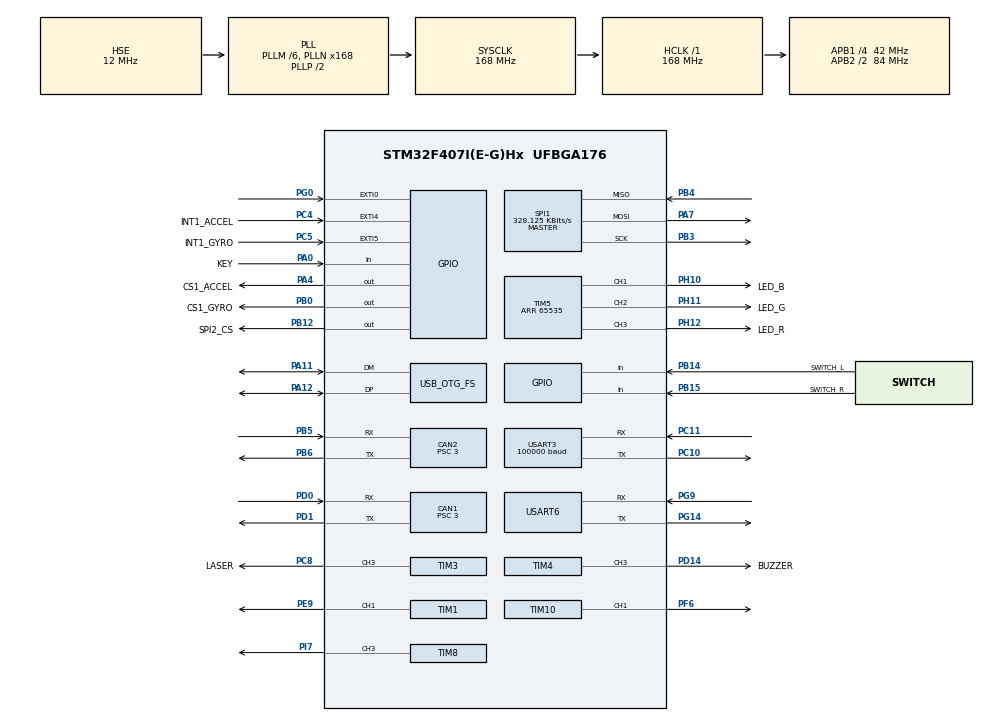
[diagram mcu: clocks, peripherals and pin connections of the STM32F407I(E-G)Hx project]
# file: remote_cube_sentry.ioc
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ADC1.Channel-0\#ChannelRegularConversion=ADC_CHANNEL_TEMPSENSOR
ADC1.ClockPrescaler=ADC_CLOCK_SYNC_PCLK_DIV6
ADC1.NbrOfConversionFlag=1
ADC1.Rank-0\#ChannelRegularConversion=1
ADC1.SamplingTime-0\#ChannelRegularConversion=ADC_SAMPLETIME_3CYCLES
ADC1.master=1
CAN1.ABOM=ENABLE
CAN1.BS1=CAN_BS1_10TQ
CAN1.BS2=CAN_BS2_3TQ
CAN1.CalculateBaudRate=1000000
CAN1.CalculateTimeBit=1000
CAN1.CalculateTimeQuantum=71.42857142857143
CAN1.NART=ENABLE
CAN1.Prescaler=3
CAN1.RFLM=DISABLE
CAN2.ABOM=ENABLE
CAN2.BS1=CAN_BS1_10TQ
CAN2.BS2=CAN_BS2_3TQ
CAN2.CalculateBaudRate=1000000
CAN2.CalculateTimeBit=1000
CAN2.CalculateTimeQuantum=71.42857142857143
CAN2.NART=ENABLE
CAN2.Prescaler=3
Dma.Request0=SPI1_RX
Dma.Request1=SPI1_TX
Dma.Request2=USART3_RX
Dma.Request3=USART6_RX
Dma.Request4=USART6_TX
Dma.SPI1_RX.0.Direction=DMA_PERIPH_TO_MEMORY
Dma.SPI1_RX.0.FIFOMode=DMA_FIFOMODE_DISABLE
Dma.SPI1_RX.0.Instance=DMA2_Stream2
Dma.SPI1_RX.0.MemDataAlignment=DMA_MDATAALIGN_BYTE
Dma.SPI1_RX.0.MemInc=DMA_MINC_ENABLE
Dma.SPI1_RX.0.Mode=DMA_NORMAL
Dma.SPI1_RX.0.PeriphDataAlignment=DMA_PDATAALIGN_BYTE
Dma.SPI1_RX.0.PeriphInc=DMA_PINC_DISABLE
Dma.SPI1_RX.0.Priority=DMA_PRIORITY_VERY_HIGH
Dma.SPI1_TX.1.Direction=DMA_MEMORY_TO_PERIPH
Dma.SPI1_TX.1.FIFOMode=DMA_FIFOMODE_DISABLE
Dma.SPI1_TX.1.Instance=DMA2_Stream3
Dma.SPI1_TX.1.MemDataAlignment=DMA_MDATAALIGN_BYTE
Dma.SPI1_TX.1.MemInc=DMA_MINC_ENABLE
Dma.SPI1_TX.1.Mode=DMA_NORMAL
Dma.SPI1_TX.1.PeriphDataAlignment=DMA_PDATAALIGN_BYTE
Dma.SPI1_TX.1.PeriphInc=DMA_PINC_DISABLE
Dma.SPI1_TX.1.Priority=DMA_PRIORITY_HIGH
Dma.USART3_RX.2.Direction=DMA_PERIPH_TO_MEMORY
Dma.USART3_RX.2.FIFOMode=DMA_FIFOMODE_DISABLE
Dma.USART3_RX.2.Instance=DMA1_Stream1
Dma.USART3_RX.2.MemDataAlignment=DMA_MDATAALIGN_BYTE
Dma.USART3_RX.2.MemInc=DMA_MINC_ENABLE
Dma.USART3_RX.2.Mode=DMA_NORMAL
Dma.USART3_RX.2.PeriphDataAlignment=DMA_PDATAALIGN_BYTE
Dma.USART3_RX.2.PeriphInc=DMA_PINC_DISABLE
Dma.USART3_RX.2.Priority=DMA_PRIORITY_HIGH
Dma.USART6_RX.3.Direction=DMA_PERIPH_TO_MEMORY
Dma.USART6_RX.3.FIFOMode=DMA_FIFOMODE_ENABLE
Dma.USART6_RX.3.FIFOThreshold=DMA_FIFO_THRESHOLD_FULL
Dma.USART6_RX.3.Instance=DMA2_Stream1
Dma.USART6_RX.3.MemBurst=DMA_MBURST_SINGLE
Dma.USART6_RX.3.MemDataAlignment=DMA_MDATAALIGN_BYTE
Dma.USART6_RX.3.MemInc=DMA_MINC_ENABLE
Dma.USART6_RX.3.Mode=DMA_NORMAL
Dma.USART6_RX.3.PeriphBurst=DMA_PBURST_SINGLE
Dma.USART6_RX.3.PeriphDataAlignment=DMA_PDATAALIGN_BYTE
Dma.USART6_RX.3.PeriphInc=DMA_PINC_DISABLE
Dma.USART6_RX.3.Priority=DMA_PRIORITY_HIGH
Dma.USART6_TX.4.Direction=DMA_MEMORY_TO_PERIPH
Dma.USART6_TX.4.FIFOMode=DMA_FIFOMODE_DISABLE
Dma.USART6_TX.4.Instance=DMA2_Stream6
Dma.USART6_TX.4.MemDataAlignment=DMA_MDATAALIGN_BYTE
Dma.USART6_TX.4.MemInc=DMA_MINC_ENABLE
Dma.USART6_TX.4.Mode=DMA_NORMAL
Dma.USART6_TX.4.PeriphDataAlignment=DMA_PDATAALIGN_BYTE
Dma.USART6_TX.4.PeriphInc=DMA_PINC_DISABLE
Dma.USART6_TX.4.Priority=DMA_PRIORITY_MEDIUM
FREERTOS.INCLUDE_eTaskGetState=1
FREERTOS.INCLUDE_pcTaskGetTaskName=1
FREERTOS.INCLUDE_uxTaskGetStackHighWaterMark=0
FREERTOS.INCLUDE_vTaskCleanUpResources=1
FREERTOS.INCLUDE_vTaskDelayUntil=1
FREERTOS.INCLUDE_xEventGroupSetBitFromISR=0
FREERTOS.INCLUDE_xQueueGetMutexHolder=1
FREERTOS.INCLUDE_xSemaphoreGetMutexHolder=1
FREERTOS.INCLUDE_xTaskAbortDelay=1
FREERTOS.INCLUDE_xTaskGetCurrentTaskHandle=1
FREERTOS.INCLUDE_xTaskGetHandle=1
FREERTOS.Tasks01=defaultTask,0,128,StartDefaultTask,Default,NULL,Dynamic,NULL,NULL;CalibrateTask,0,512,calibrate_task,As weak,NULL,Dynamic,NULL,NULL;ChassisTask,-2,512,chassis_task,As weak,NULL,Dynamic,NULL,NULL;gimbalTask,2,512,gimbal_task,As weak,NULL,Dynamic,NULL,NULL;imuTask,-3,512,INS_task,As weak,NULL,Dynamic,NULL,NULL;detectTask,-3,128,detect_task,As weak,NULL,Dynamic,NULL,NULL;RefereeTask,0,128,Referee_send_task,As weak,NULL,Dynamic,NULL,NULL
FREERTOS.configCHECK_FOR_STACK_OVERFLOW=0
FREERTOS.configTOTAL_HEAP_SIZE=24576
FREERTOS.configUSE_NEWLIB_REENTRANT=0
Mcu.Family=STM32F4
Mcu.Name=STM32F407I(E-G)Hx
Mcu.Package=UFBGA176
NVIC.CAN1_RX0_IRQn=true\:5\:0\:false\:false\:true\:true\:true\:true\:true
NVIC.CAN2_RX0_IRQn=true\:5\:0\:false\:false\:true\:true\:true\:true\:true
NVIC.DMA1_Stream1_IRQn=true\:5\:0\:false\:false\:true\:true\:false\:true\:true
NVIC.DMA2_Stream1_IRQn=true\:5\:0\:false\:false\:true\:true\:false\:true\:true
NVIC.DMA2_Stream2_IRQn=true\:5\:0\:false\:false\:false\:true\:false\:true\:true
NVIC.DMA2_Stream3_IRQn=true\:5\:0\:false\:false\:true\:true\:false\:true\:true
NVIC.DMA2_Stream6_IRQn=true\:5\:0\:false\:false\:true\:true\:false\:true\:true
NVIC.EXTI0_IRQn=true\:5\:0\:false\:false\:true\:true\:true\:true\:true
NVIC.EXTI4_IRQn=true\:5\:0\:false\:false\:true\:true\:true\:true\:true
NVIC.EXTI9_5_IRQn=true\:5\:0\:false\:false\:true\:true\:true\:true\:true
NVIC.OTG_FS_IRQn=true\:5\:0\:false\:false\:true\:true\:false\:true\:true
NVIC.PriorityGroup=NVIC_PRIORITYGROUP_4
NVIC.USART3_IRQn=true\:5\:0\:false\:false\:false\:true\:true\:true\:true
NVIC.USART6_IRQn=true\:5\:0\:false\:false\:false\:true\:true\:true\:true
PA0-WKUP.GPIO_Label=KEY
PA0-WKUP.GPIO_PuPd=GPIO_PULLUP
PA0-WKUP.Signal=GPIO_Input
PA11.Mode=Device_Only
PA11.Signal=USB_OTG_FS_DM
PA12.Mode=Device_Only
PA12.Signal=USB_OTG_FS_DP
PA13.Mode=Serial_Wire
PA13.Signal=SYS_JTMS-SWDIO
PA14.Mode=Serial_Wire
PA14.Signal=SYS_JTCK-SWCLK
PA4.GPIO_Label=CS1_ACCEL
PA4.GPIO_PuPd=GPIO_PULLUP
PA4.GPIO_Speed=GPIO_SPEED_FREQ_HIGH
PA4.PinState=GPIO_PIN_SET
PA4.Signal=GPIO_Output
PA7.GPIO_PuPd=GPIO_PULLUP
PA7.Mode=Full_Duplex_Master
PA7.Signal=SPI1_MOSI
PB0.GPIO_Label=CS1_GYRO
PB0.GPIO_PuPd=GPIO_PULLUP
PB0.GPIO_Speed=GPIO_SPEED_FREQ_HIGH
PB0.PinState=GPIO_PIN_SET
PB0.Signal=GPIO_Output
PB12.GPIO_Label=SPI2_CS
PB12.GPIO_PuPd=GPIO_PULLUP
PB12.GPIO_Speed=GPIO_SPEED_FREQ_MEDIUM
PB12.PinState=GPIO_PIN_SET
PB12.Signal=GPIO_Output
PB14.GPIO_Label=SWITCH_L
PB14.GPIO_PuPd=GPIO_PULLDOWN
PB14.Signal=GPIO_Input
PB15.GPIO_Label=SWITCH_R
PB15.GPIO_PuPd=GPIO_PULLDOWN
PB15.Signal=GPIO_Input
PB3.GPIO_PuPd=GPIO_PULLUP
PB3.Mode=Full_Duplex_Master
PB3.Signal=SPI1_SCK
PB4.GPIO_PuPd=GPIO_PULLUP
PB4.Mode=Full_Duplex_Master
PB4.Signal=SPI1_MISO
PB5.GPIO_PuPd=GPIO_PULLUP
PB5.Mode=CAN_Activate
PB5.Signal=CAN2_RX
PB6.GPIO_PuPd=GPIO_PULLUP
PB6.Mode=CAN_Activate
PB6.Signal=CAN2_TX
PC10.Mode=Asynchronous
PC10.Signal=USART3_TX
PC11.Mode=Asynchronous
PC11.Signal=USART3_RX
PC4.GPIO_Label=INT1_ACCEL
PC4.GPIO_ModeDefaultEXTI=GPIO_MODE_IT_FALLING
PC4.GPIO_PuPd=GPIO_PULLUP
PC4.Signal=GPXTI4
PC5.GPIO_Label=INT1_GYRO
PC5.GPIO_ModeDefaultEXTI=GPIO_MODE_IT_FALLING
PC5.GPIO_PuPd=GPIO_PULLUP
PC5.Signal=GPXTI5
PC6.Signal=S_TIM8_CH1
PC8.GPIO_Label=LASER
PC8.GPIO_PuPd=GPIO_PULLUP
PC8.GPIO_Speed=GPIO_SPEED_FREQ_HIGH
PC8.Signal=S_TIM3_CH3
PD0.GPIO_PuPd=GPIO_PULLUP
PD0.Mode=CAN_Activate
PD0.Signal=CAN1_RX
PD1.GPIO_PuPd=GPIO_PULLUP
PD1.Mode=CAN_Activate
PD1.Signal=CAN1_TX
PD14.GPIO_Label=BUZZER
PD14.GPIO_PuPd=GPIO_PULLUP
PD14.GPIO_Speed=GPIO_SPEED_FREQ_VERY_HIGH
PD14.Signal=S_TIM4_CH3
PE9.GPIO_PuPd=GPIO_PULLUP
PE9.GPIO_Speed=GPIO_SPEED_FREQ_HIGH
PE9.Signal=S_TIM1_CH1
PF6.GPIO_PuPd=GPIO_PULLUP
PF6.GPIO_Speed=GPIO_SPEED_FREQ_HIGH
PF6.Signal=S_TIM10_CH1
PG0.GPIO_ModeDefaultEXTI=GPIO_MODE_IT_FALLING
PG0.GPIO_PuPd=GPIO_PULLUP
PG0.Signal=GPXTI0
PG14.Mode=Asynchronous
PG14.Signal=USART6_TX
PG9.Mode=Asynchronous
PG9.Signal=USART6_RX
PH0-OSC_IN.Mode=HSE-External-Oscillator
PH0-OSC_IN.Signal=RCC_OSC_IN
PH1-OSC_OUT.Mode=HSE-External-Oscillator
PH1-OSC_OUT.Signal=RCC_OSC_OUT
PH10.GPIO_Label=LED_B
PH10.GPIO_PuPd=GPIO_PULLUP
PH10.GPIO_Speed=GPIO_SPEED_FREQ_HIGH
PH10.Signal=S_TIM5_CH1
PH11.GPIO_Label=LED_G
PH11.GPIO_PuPd=GPIO_PULLUP
PH11.GPIO_Speed=GPIO_SPEED_FREQ_HIGH
PH11.Signal=S_TIM5_CH2
PH12.GPIO_Label=LED_R
PH12.GPIO_PuPd=GPIO_PULLUP
PH12.GPIO_Speed=GPIO_SPEED_FREQ_HIGH
PH12.Signal=S_TIM5_CH3
PI7.GPIO_PuPd=GPIO_PULLUP
PI7.GPIO_Speed=GPIO_SPEED_FREQ_VERY_HIGH
PI7.Signal=S_TIM8_CH3
ProjectManager.HeapSize=0x2000
ProjectManager.StackSize=0x2000
ProjectManager.TargetToolchain=STM32CubeIDE
RCC.48MHZClocksFreq_Value=48000000
RCC.AHBFreq_Value=168000000
RCC.APB1CLKDivider=RCC_HCLK_DIV4
RCC.APB1Freq_Value=42000000
RCC.APB1TimFreq_Value=84000000
RCC.APB2CLKDivider=RCC_HCLK_DIV2
RCC.APB2Freq_Value=84000000
RCC.APB2TimCLKDivider=2
RCC.APB2TimFreq_Value=168000000
RCC.CortexFreq_Value=168000000
RCC.HCLKFreq_Value=168000000
RCC.HSE_VALUE=12000000
RCC.HSI_VALUE=16000000
RCC.LSE_VALUE=32768
RCC.PLLM=6
RCC.PLLN=168
RCC.PLLQ=7
RCC.RCC_RTC_Clock_SourceVirtual=RCC_RTCCLKSOURCE_HSE_DIV30
RCC.RCC_RTC_Clock_Source_FROM_HSE=RCC_RTCCLKSOURCE_HSE_DIV30
RCC.SYSCLKFreq_VALUE=168000000
RCC.SYSCLKSource=RCC_SYSCLKSOURCE_PLLCLK
RCC.VCOOutputFreq_Value=336000000
SH.S_TIM10_CH1.0=TIM10_CH1,PWM Generation1 CH1
SH.S_TIM1_CH1.0=TIM1_CH1,PWM Generation1 CH1
SH.S_TIM3_CH3.0=TIM3_CH3,PWM Generation3 CH3
SH.S_TIM4_CH3.0=TIM4_CH3,PWM Generation3 CH3
SH.S_TIM5_CH1.0=TIM5_CH1,PWM Generation1 CH1
SH.S_TIM5_CH2.0=TIM5_CH2,PWM Generation2 CH2
SH.S_TIM5_CH3.0=TIM5_CH3,PWM Generation3 CH3
SH.S_TIM8_CH1.0=TIM8_CH1
SH.S_TIM8_CH3.0=TIM8_CH3,PWM Generation3 CH3
SPI1.BaudRatePrescaler=SPI_BAUDRATEPRESCALER_256
SPI1.CLKPhase=SPI_PHASE_2EDGE
SPI1.CLKPolarity=SPI_POLARITY_HIGH
SPI1.CalculateBaudRate=328.125 KBits/s
SPI1.Direction=SPI_DIRECTION_2LINES
SPI1.Mode=SPI_MODE_MASTER
SPI1.VirtualType=VM_MASTER
TIM1.Channel-PWM\ Generation1\ CH1=TIM_CHANNEL_1
TIM1.Period=19999
TIM1.Prescaler=167
TIM1.Pulse-PWM\ Generation1\ CH1=1000
TIM10.Channel=TIM_CHANNEL_1
TIM10.Period=4999
TIM3.Channel-PWM\ Generation3\ CH3=TIM_CHANNEL_3
TIM3.Period=8399
TIM4.Channel-PWM\ Generation3\ CH3=TIM_CHANNEL_3
TIM4.Prescaler=167
TIM5.Channel-PWM\ Generation1\ CH1=TIM_CHANNEL_1
TIM5.Channel-PWM\ Generation2\ CH2=TIM_CHANNEL_2
TIM5.Channel-PWM\ Generation3\ CH3=TIM_CHANNEL_3
TIM5.Period=65535
TIM8.AutoReloadPreload=TIM_AUTORELOAD_PRELOAD_ENABLE
TIM8.Channel-PWM\ Generation3\ CH3=TIM_CHANNEL_3
TIM8.Period=3996
TIM8.Prescaler=167
TIM8.Pulse-PWM\ Generation3\ CH3=1000
USART3.BaudRate=100000
USART3.Mode=MODE_RX
USART3.Parity=PARITY_EVEN
USART3.VirtualMode=VM_ASYNC
USART6.VirtualMode=VM_ASYNC
USB_DEVICE.CLASS_NAME_FS=CDC
USB_DEVICE.VirtualMode-CDC_FS=Cdc
USB_DEVICE.VirtualModeFS=Cdc_FS
USB_OTG_FS.VirtualMode=Device_Only
VP_ADC1_TempSens_Input.Mode=IN-TempSens
VP_ADC1_Vref_Input.Mode=IN-Vrefint
VP_CRC_VS_CRC.Mode=CRC_Activate
VP_FREERTOS_VS_CMSIS_V1.Mode=CMSIS_V1
VP_RNG_VS_RNG.Mode=RNG_Activate
VP_TIM10_VS_ClockSourceINT.Mode=Enable_Timer
VP_TIM4_VS_ClockSourceINT.Mode=Internal
VP_TIM5_VS_ClockSourceINT.Mode=Internal
VP_USB_DEVICE_VS_USB_DEVICE_CDC_FS.Mode=CDC_FS
board=custom

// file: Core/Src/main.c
/* USER CODE BEGIN Header */
/**
  ******************************************************************************
  * @file           : main.c
  * @brief          : Main program body
  ******************************************************************************
  * @attention
  *
  * Copyright (c) 2022 STMicroelectronics.
  * All rights reserved.
  *
  * This software is licensed under terms that can be found in the LICENSE file
  * in the root directory of this software component.
  * If no LICENSE file comes with this software, it is provided AS-IS.
  *
  ******************************************************************************
  */
/* USER CODE END Header */
#include "main.h"
#include "cmsis_os.h"
#include "adc.h"
#include "can.h"
#include "crc.h"
#include "dma.h"
#include "rng.h"
#include "spi.h"
#include "tim.h"
#include "usart.h"
#include "usb_device.h"
#include "gpio.h"

/* USER CODE BEGIN Includes */
#include "can_hardwares.h"
#include "bsp_delay.h"
#include "bsp_usart.h"
#include "remote.h"

#include "Calibrate.h"
/* USER CODE END Includes */

/* USER CODE BEGIN PTD */
extern uint8_t usart1_receive_buf[200];
/* USER CODE END PTD */

void SystemClock_Config(void);
void MX_FREERTOS_Init(void);

int main(void)
{

  /* MCU Configuration--------------------------------------------------------*/

  /* Reset of all peripherals, Initializes the Flash interface and the Systick. */
  HAL_Init();

  /* Configure the system clock */
  SystemClock_Config();

  /* Initialize all configured peripherals */
  MX_GPIO_Init();
  MX_DMA_Init();
  MX_CAN1_Init();
  MX_CAN2_Init();
  MX_SPI1_Init();
  MX_TIM4_Init();
  MX_TIM5_Init();
  MX_USART3_UART_Init();
  MX_USART6_UART_Init();
  MX_TIM3_Init();
  MX_TIM10_Init();
  MX_ADC1_Init();
  MX_CRC_Init();
  MX_RNG_Init();
  MX_TIM1_Init();
  MX_TIM8_Init();
  /* USER CODE BEGIN 2 */
    can_filter_init();
    delay_init();
    HAL_TIM_PWM_Start(&htim8,TIM_CHANNEL_3);
    HAL_TIM_PWM_Start(&htim8,TIM_CHANNEL_2);

    cali_param_init();
    remote_control_init();
  /* USER CODE END 2 */

  /* Call init function for freertos objects (in freertos.c) */
  MX_FREERTOS_Init();

  /* Start scheduler */
  osKernelStart();

  /* We should never get here as control is now taken by the scheduler */
  /* Infinite loop */
  while (1)
  {

  }
}

void SystemClock_Config(void)
{
  RCC_OscInitTypeDef RCC_OscInitStruct = {0};
  RCC_ClkInitTypeDef RCC_ClkInitStruct = {0};

  /** Configure the main internal regulator output voltage
  */
  __HAL_RCC_PWR_CLK_ENABLE();
  __HAL_PWR_VOLTAGESCALING_CONFIG(PWR_REGULATOR_VOLTAGE_SCALE1);

  /** Initializes the RCC Oscillators according to the specified parameters
  * in the RCC_OscInitTypeDef structure.
  */
  RCC_OscInitStruct.OscillatorType = RCC_OSCILLATORTYPE_HSE;
  RCC_OscInitStruct.HSEState = RCC_HSE_ON;
  RCC_OscInitStruct.PLL.PLLState = RCC_PLL_ON;
  RCC_OscInitStruct.PLL.PLLSource = RCC_PLLSOURCE_HSE;
  RCC_OscInitStruct.PLL.PLLM = 6;
  RCC_OscInitStruct.PLL.PLLN = 168;
  RCC_OscInitStruct.PLL.PLLP = RCC_PLLP_DIV2;
  RCC_OscInitStruct.PLL.PLLQ = 7;
  if (HAL_RCC_OscConfig(&RCC_OscInitStruct) != HAL_OK)
  {
    Error_Handler();
  }

  /** Initializes the CPU, AHB and APB buses clocks
  */
  RCC_ClkInitStruct.ClockType = RCC_CLOCKTYPE_HCLK|RCC_CLOCKTYPE_SYSCLK
                              |RCC_CLOCKTYPE_PCLK1|RCC_CLOCKTYPE_PCLK2;
  RCC_ClkInitStruct.SYSCLKSource = RCC_SYSCLKSOURCE_PLLCLK;
  RCC_ClkInitStruct.AHBCLKDivider = RCC_SYSCLK_DIV1;
  RCC_ClkInitStruct.APB1CLKDivider = RCC_HCLK_DIV4;
  RCC_ClkInitStruct.APB2CLKDivider = RCC_HCLK_DIV2;

  if (HAL_RCC_ClockConfig(&RCC_ClkInitStruct, FLASH_LATENCY_5) != HAL_OK)
  {
    Error_Handler();
  }
}

void Error_Handler(void)
{
  __disable_irq();
  while (1)
  {
  }
}

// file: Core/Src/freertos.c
/* USER CODE BEGIN Header */
/**
  ******************************************************************************
  * File Name          : freertos.c
  * Description        : Code for freertos applications
  ******************************************************************************
  * @attention
  *
  * Copyright (c) 2022 STMicroelectronics.
  * All rights reserved.
  *
  * This software is licensed under terms that can be found in the LICENSE file
  * in the root directory of this software component.
  * If no LICENSE file comes with this software, it is provided AS-IS.
  *
  ******************************************************************************
  */
/* USER CODE END Header */

#include "FreeRTOS.h"
#include "task.h"
#include "main.h"
#include "cmsis_os.h"

/* USER CODE BEGIN Includes */
#include "queue.h"
#include "can_hardwares.h"
#include "bsp_can.h"

/* USER CODE END Includes */

/* USER CODE BEGIN Variables */
osThreadId usb_task_handle;
osThreadId decode_task_handle;
osThreadId can_decode_task_handle;
/* USER CODE END Variables */
osThreadId defaultTaskHandle;
osThreadId CalibrateTaskHandle;
osThreadId ChassisTaskHandle;
osThreadId gimbalTaskHandle;
osThreadId imuTaskHandle;
osThreadId detectTaskHandle;
osThreadId RefereeTaskHandle;

void StartDefaultTask(void const * argument);
void calibrate_task(void const * argument);
void chassis_task(void const * argument);
void gimbal_task(void const * argument);
void INS_task(void const * argument);
void detect_task(void const * argument);
void Referee_send_task(void const * argument);

extern void MX_USB_DEVICE_Init(void);
void MX_FREERTOS_Init(void); /* (MISRA C 2004 rule 8.1) */

/* GetIdleTaskMemory prototype (linked to static allocation support) */
void vApplicationGetIdleTaskMemory( StaticTask_t **ppxIdleTaskTCBBuffer, StackType_t **ppxIdleTaskStackBuffer, uint32_t *pulIdleTaskStackSize );

/* USER CODE BEGIN GET_IDLE_TASK_MEMORY */
static StaticTask_t xIdleTaskTCBBuffer;
static StackType_t xIdleStack[configMINIMAL_STACK_SIZE];

void vApplicationGetIdleTaskMemory( StaticTask_t **ppxIdleTaskTCBBuffer, StackType_t **ppxIdleTaskStackBuffer, uint32_t *pulIdleTaskStackSize )
{
  *ppxIdleTaskTCBBuffer = &xIdleTaskTCBBuffer;
  *ppxIdleTaskStackBuffer = &xIdleStack[0];
  *pulIdleTaskStackSize = configMINIMAL_STACK_SIZE;
  /* place for user code */
}
QueueHandle_t CDC_send_queue;
extern void usb_task(void const * argument);
extern void decode_task(void const * arg);

_Noreturn extern void can_decode_task(void const * argument);
/* USER CODE END GET_IDLE_TASK_MEMORY */

void MX_FREERTOS_Init(void) {

  /* USER CODE BEGIN RTOS_QUEUES */
  /* add queues, ... */
    CDC_send_queue = xQueueCreate(5, 256);

  /* USER CODE END RTOS_QUEUES */

  /* Create the thread(s) */
  /* definition and creation of defaultTask */
  osThreadDef(defaultTask, StartDefaultTask, osPriorityNormal, 0, 128);
  defaultTaskHandle = osThreadCreate(osThread(defaultTask), NULL);

  /* definition and creation of CalibrateTask */
  osThreadDef(CalibrateTask, calibrate_task, osPriorityNormal, 0, 512);
  CalibrateTaskHandle = osThreadCreate(osThread(CalibrateTask), NULL);

  /* definition and creation of ChassisTask */
  osThreadDef(ChassisTask, chassis_task, osPriorityLow, 0, 512);
  ChassisTaskHandle = osThreadCreate(osThread(ChassisTask), NULL);

  /* definition and creation of gimbalTask */
  osThreadDef(gimbalTask, gimbal_task, osPriorityHigh, 0, 512);
  gimbalTaskHandle = osThreadCreate(osThread(gimbalTask), NULL);

  /* definition and creation of imuTask */
  osThreadDef(imuTask, INS_task, osPriorityIdle, 0, 512);
  imuTaskHandle = osThreadCreate(osThread(imuTask), NULL);

  /* definition and creation of detectTask */
  osThreadDef(detectTask, detect_task, osPriorityIdle, 0, 128);
  detectTaskHandle = osThreadCreate(osThread(detectTask), NULL);

  /* definition and creation of RefereeTask */
  osThreadDef(RefereeTask, Referee_send_task, osPriorityNormal, 0, 128);
  RefereeTaskHandle = osThreadCreate(osThread(RefereeTask), NULL);

  /* USER CODE BEGIN RTOS_THREADS */
  /* add threads, ... */
  osThreadDef(USBtask,usb_task,osPriorityHigh,0,128);
  usb_task_handle= osThreadCreate(osThread(USBtask),NULL);

  osThreadDef(DecodeTask, decode_task, osPriorityHigh, 0, 128);
  decode_task_handle = osThreadCreate(osThread(DecodeTask), NULL);

  /* USER CODE END RTOS_THREADS */

}

void StartDefaultTask(void const * argument)
{
  /* init code for USB_DEVICE */
  MX_USB_DEVICE_Init();
  for(;;)
  {
    osDelay(1);
  }
}

__weak void calibrate_task(void const * argument)
{
  for(;;)
  {
    osDelay(1);
  }
}

__weak void chassis_task(void const * argument)
{
  for(;;)
  {
    osDelay(1);
  }
}

__weak void gimbal_task(void const * argument)
{
  for(;;)
  {
    osDelay(1);
  }
}

__weak void INS_task(void const * argument)
{
  for(;;)
  {
    osDelay(1);
  }
}

__weak void detect_task(void const * argument)
{
  for(;;)
  {
    osDelay(1);
  }
}

__weak void Referee_send_task(void const * argument)
{
  for(;;)
  {
    osDelay(1);
  }
}
